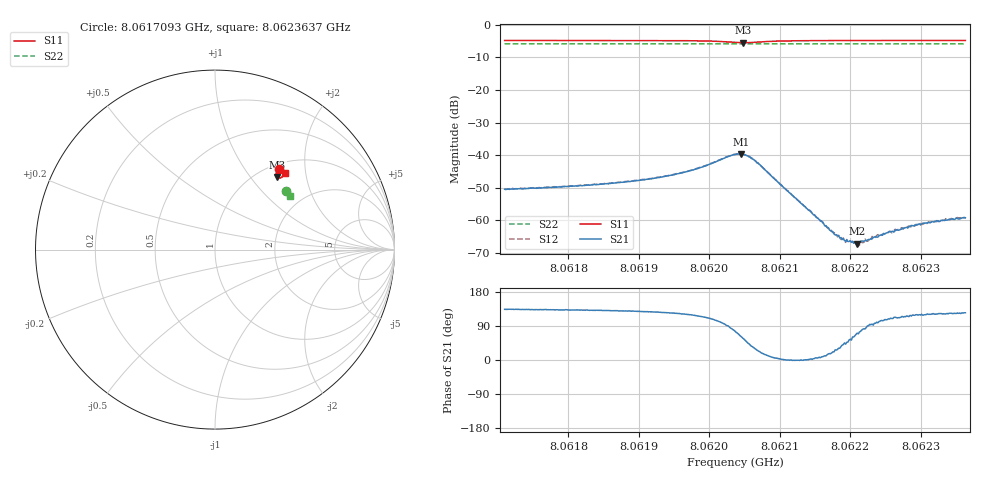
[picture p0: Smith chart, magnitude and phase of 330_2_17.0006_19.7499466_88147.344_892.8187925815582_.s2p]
#  HZ  S  RI  R  50.00
! Rohde & Schwarz Vector Network Analyzer
! Rohde-Schwarz,ZNB20-2Port,1311601062101988,3.16
! Created: UTC 3/20/2024, 11:06:53 PM
! freq[Hz]  re:S11  im:S11  re:S21  im:S21  re:S12  im:S12  re:S22  im:S22
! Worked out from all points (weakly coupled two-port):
!   401 points, 8.0617093 GHz to 8.0623637 GHz, reference 50 ohm
!   highest |S21| = -39.62 dB at 8.0620447 GHz (marker M1); lowest = -67.1 dB at 8.0622099 GHz (marker M2)
!   lowest |S11| = -5.5 dB at 8.062048 GHz (marker M3), VSWR 3.27, Z = 61.1 + j68.5 ohm
!   |S11| at or under -10 dB: nowhere
!   |S22| runs from -5.9 to -5.8 dB; largest |S21 - S12| = 0.00075
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8.06170933e9  0.3591 0.4502  -0.00208 0.00217  -0.00194 0.00231  0.3932 0.3285
8.06181894e9  0.3667 0.4437  -0.00228 0.00254  -0.00215 0.00273  0.3973 0.323
8.06187293e9  0.3705 0.4399  -0.00243 0.00293  -0.00228 0.0031  0.3993 0.3203
8.06192855e9  0.3753 0.4341  -0.00267 0.00367  -0.00248 0.00387  0.4015 0.3175
8.0619809e9  0.3797 0.4242  -0.00282 0.00546  -0.00246 0.0057  0.4034 0.3146
8.06203652e9  0.3617 0.3988  0.00242 0.00997  0.00307 0.00993  0.4042 0.3109
8.0620447e9  0.3516 0.4005  0.00481 0.00927  0.00536 0.00903  0.4039 0.3108
8.06204797e9  0.3478 0.4024  0.00564 0.00874  0.0062 0.00828  0.4039 0.3106
8.06205779e9  0.3403 0.413  0.00723 0.00606  0.00755 0.00562  0.4041 0.311
8.06206597e9  0.3396 0.4224  0.00709 0.00389  0.00738 0.00338  0.4044 0.3109
8.06214613e9  0.3677 0.4384  0.00128 3.85e-05  0.00129 -3.13e-05  0.4088 0.3076
8.06216576e9  0.371 0.4373  0.000816 0.000159  0.000804 0.000132  0.4095 0.3065
8.06218212e9  0.3733 0.4363  0.000518 0.000273  0.00051 0.00023  0.4103 0.3057
8.0621903e9  0.3743 0.4359  0.0004 0.000343  0.000433 0.00032  0.4105 0.3053
8.06220339e9  0.3757 0.435  0.000235 0.000418  0.000251 0.000399  0.411 0.3046
8.06220993e9  0.3763 0.4346  0.000146 0.000417  0.000149 0.000409  0.4112 0.3042
8.06222629e9  0.3782 0.4336  -5.27e-06 0.000512  4.78e-05 0.000493  0.412 0.3035
8.06223938e9  0.3793 0.4327  -8.06e-05 0.000549  -6.15e-05 0.000603  0.4123 0.3027
8.06225574e9  0.3806 0.4318  -0.000208 0.000646  -0.000186 0.000653  0.413 0.3019
8.06229664e9  0.3838 0.4293  -0.000416 0.000758  -0.000394 0.000789  0.4144 0.2998
8.06233917e9  0.3868 0.427  -0.000543 0.00087  -0.000544 0.000893  0.4159 0.2975
8.06236371e9  0.3883 0.4257  -0.000623 0.000903  -0.000576 0.000943  0.4168 0.2963
